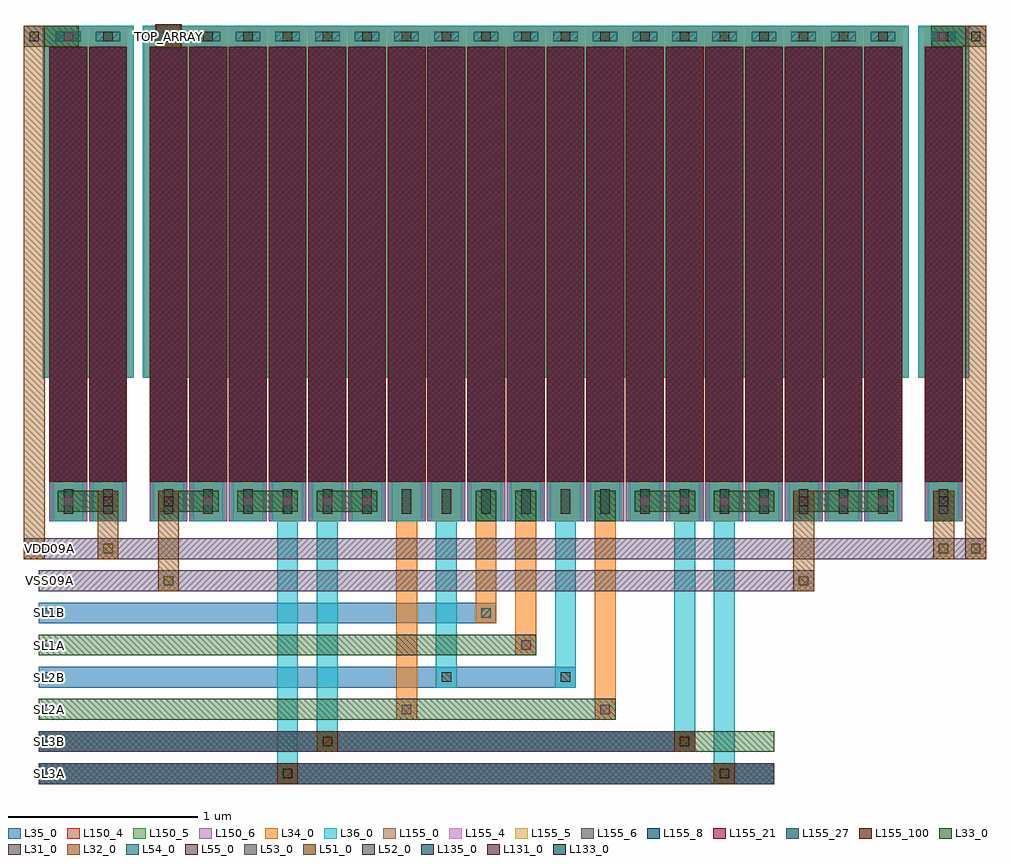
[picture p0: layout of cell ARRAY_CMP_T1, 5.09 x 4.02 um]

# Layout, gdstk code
from math import pi, radians
import gdstk
lib = gdstk.Library(unit=1e-6, precision=1e-09)
def R(c, l, rs):  # rectangles x0, y0, x1, y1
    for r in rs: c.add(gdstk.rectangle(r[:2], r[2:], *l))
def A(c, l, x, y, w, h, nx, ny, dx, dy):  # array of equal rectangles
    R(c, l, [(x+i*dx, y+j*dy, x+i*dx+w, y+j*dy+h) for i in range(nx) for j in range(ny)])
L31_0 = (31, 0)
L32_0 = (32, 0)
L33_0 = (33, 0)
L34_0 = (34, 0)
L35_0 = (35, 0)
L36_0 = (36, 0)
L51_0 = (51, 0)
L52_0 = (52, 0)
L53_0 = (53, 0)
L54_0 = (54, 0)
L55_0 = (55, 0)
L131_0 = (131, 0)
L133_0 = (133, 0)
L135_0 = (135, 0)
L150_4 = (150, 4)
L150_5 = (150, 5)
L150_6 = (150, 6)
L155_0 = (155, 0)
L155_4 = (155, 4)
L155_5 = (155, 5)
L155_6 = (155, 6)
L155_8 = (155, 8)
L155_21 = (155, 21)
L155_27 = (155, 27)
L155_100 = (155, 100)

m5_m4_cdns_621666904968 = lib.new_cell('M5_M4_CDNS_621666904968')
R(m5_m4_cdns_621666904968, L34_0, [(-0.07,-0.105,0.07,0.105)])
R(m5_m4_cdns_621666904968, L35_0, [(-0.07,-0.105,0.07,0.105)])
R(m5_m4_cdns_621666904968, L54_0, [(-0.025,-0.065,0.025,0.065)])

m6_m5_cdns_621666904969 = lib.new_cell('M6_M5_CDNS_621666904969')
R(m6_m5_cdns_621666904969, L35_0, [(-0.07,-0.105,0.07,0.105)])
R(m6_m5_cdns_621666904969, L36_0, [(-0.055,-0.105,0.055,0.105)])
R(m6_m5_cdns_621666904969, L55_0, [(-0.025,-0.065,0.025,0.065)])

m5_m4_cdns_6216669049610 = lib.new_cell('M5_M4_CDNS_6216669049610')
R(m5_m4_cdns_6216669049610, L34_0, [(-0.095,-0.055,0.095,0.055)])
R(m5_m4_cdns_6216669049610, L35_0, [(-0.12,-0.055,0.12,0.055)])
R(m5_m4_cdns_6216669049610, L54_0, [(-0.065,-0.025,0.065,0.025)])

m6_m5_cdns_621666904966 = lib.new_cell('M6_M5_CDNS_621666904966')
R(m6_m5_cdns_621666904966, L35_0, [(-0.055,-0.055,0.055,0.055)])
R(m6_m5_cdns_621666904966, L36_0, [(-0.055,-0.055,0.055,0.055)])
R(m6_m5_cdns_621666904966, L55_0, [(-0.025,-0.025,0.025,0.025)])

cu1f = lib.new_cell('CU1F')
R(cu1f, L34_0, [(0.02,0,0.18,0.21), (-0.035,2.51,0.235,2.62)])
R(cu1f, L35_0, [(0.02,0,0.18,0.21), (-0.035,2.51,0.235,2.62)])
R(cu1f, L36_0, [(0.02,0,0.18,0.21), (-0.035,2.51,0.235,2.62)])
R(cu1f, L150_4, [(0,0,0.2,2.62)])
R(cu1f, L150_5, [(0,0,0.2,2.62)])
R(cu1f, L150_6, [(0,0,0.2,2.62)])
R(cu1f, L155_0, [(0,0.21,0.2,2.51)])
R(cu1f, L155_4, [(0,0.21,0.2,2.51)])
R(cu1f, L155_5, [(0,0.21,0.2,2.51)])
R(cu1f, L155_6, [(0,0.21,0.2,2.51)])
R(cu1f, L155_8, [(0,0.21,0.2,2.51)])
R(cu1f, L155_21, [(0,0.21,0.2,2.51)])
R(cu1f, L155_27, [(0,0.21,0.2,2.51)])
R(cu1f, L155_100, [(0,0.21,0.2,2.51)])
cu1f.add(gdstk.FlexPath([(0.205,2.59),(0.205,0.76)], 0.06, ends=(0.03, 0), simple_path=True, layer=34, datatype=0))  # L34_0
cu1f.add(gdstk.FlexPath([(0.1,2.41),(0.1,0)], 0.05, ends="flush", simple_path=True, layer=34, datatype=0))  # L34_0
cu1f.add(gdstk.FlexPath([(-0.005,2.59),(-0.005,0.76)], 0.06, ends=(0.03, 0), simple_path=True, layer=34, datatype=0))  # L34_0
cu1f.add(gdstk.FlexPath([(0.205,0.76),(0.205,2.59)], 0.06, ends=(0, 0.03), simple_path=True, layer=35, datatype=0))  # L35_0
cu1f.add(gdstk.FlexPath([(0.1,2.41),(0.1,0)], 0.05, ends="flush", simple_path=True, layer=35, datatype=0))  # L35_0
cu1f.add(gdstk.FlexPath([(-0.005,0.76),(-0.005,2.59)], 0.06, ends=(0, 0.03), simple_path=True, layer=35, datatype=0))  # L35_0
cu1f.add(gdstk.FlexPath([(0.205,0.76),(0.205,2.59)], 0.06, ends=(0, 0.03), simple_path=True, layer=36, datatype=0))  # L36_0
cu1f.add(gdstk.FlexPath([(0.1,2.41),(0.1,0)], 0.05, ends="flush", simple_path=True, layer=36, datatype=0))  # L36_0
cu1f.add(gdstk.FlexPath([(-0.005,0.76),(-0.005,2.59)], 0.06, ends=(0, 0.03), simple_path=True, layer=36, datatype=0))  # L36_0
cu1f.add(gdstk.Reference(m5_m4_cdns_621666904968, (0.1,0.105), rotation=pi, x_reflection=True))
cu1f.add(gdstk.Reference(m6_m5_cdns_621666904969, (0.1,0.105), rotation=pi, x_reflection=True))
cu1f.add(gdstk.Reference(m5_m4_cdns_6216669049610, (0.1,2.565)))
cu1f.add(gdstk.Reference(m6_m5_cdns_621666904966, (0.1,2.565)))

m2_m1_cdns_621666904960 = lib.new_cell('M2_M1_CDNS_621666904960')
R(m2_m1_cdns_621666904960, L31_0, [(-0.055,-0.055,0.055,0.055)])
R(m2_m1_cdns_621666904960, L32_0, [(-0.055,-0.055,0.055,0.055)])
R(m2_m1_cdns_621666904960, L51_0, [(-0.025,-0.025,0.025,0.025)])

m3_m2_cdns_621666904961 = lib.new_cell('M3_M2_CDNS_621666904961')
R(m3_m2_cdns_621666904961, L32_0, [(-0.055,-0.055,0.055,0.055)])
R(m3_m2_cdns_621666904961, L33_0, [(-0.055,-0.055,0.055,0.055)])
R(m3_m2_cdns_621666904961, L52_0, [(-0.025,-0.025,0.025,0.025)])

m4_m3_cdns_621666904962 = lib.new_cell('M4_M3_CDNS_621666904962')
R(m4_m3_cdns_621666904962, L33_0, [(-0.055,-0.055,0.055,0.055)])
R(m4_m3_cdns_621666904962, L34_0, [(-0.055,-0.055,0.055,0.055)])
R(m4_m3_cdns_621666904962, L53_0, [(-0.025,-0.025,0.025,0.025)])

m4_m3_cdns_621666904963 = lib.new_cell('M4_M3_CDNS_621666904963')
R(m4_m3_cdns_621666904963, L33_0, [(-0.07,-0.065,0.07,0.065)])
R(m4_m3_cdns_621666904963, L34_0, [(-0.055,-0.055,0.055,0.055)])
R(m4_m3_cdns_621666904963, L53_0, [(-0.025,-0.025,0.025,0.025)])

m3_m2_cdns_621666904964 = lib.new_cell('M3_M2_CDNS_621666904964')
R(m3_m2_cdns_621666904964, L32_0, [(-0.065,-0.06,0.065,0.06)])
R(m3_m2_cdns_621666904964, L33_0, [(-0.07,-0.065,0.07,0.065)])
R(m3_m2_cdns_621666904964, L52_0, [(-0.025,-0.025,0.025,0.025)])

m2_m1_cdns_621666904965 = lib.new_cell('M2_M1_CDNS_621666904965')
R(m2_m1_cdns_621666904965, L31_0, [(-0.055,-0.055,0.055,0.055)])
R(m2_m1_cdns_621666904965, L32_0, [(-0.065,-0.06,0.065,0.06)])
R(m2_m1_cdns_621666904965, L51_0, [(-0.025,-0.025,0.025,0.025)])

m5_m4_cdns_621666904967 = lib.new_cell('M5_M4_CDNS_621666904967')
R(m5_m4_cdns_621666904967, L34_0, [(-0.055,-0.055,0.055,0.055)])
R(m5_m4_cdns_621666904967, L35_0, [(-0.055,-0.055,0.055,0.055)])
R(m5_m4_cdns_621666904967, L54_0, [(-0.025,-0.025,0.025,0.025)])

array_cmp_t1 = lib.new_cell('ARRAY_CMP_T1')
R(array_cmp_t1, L31_0, [(-0.055,-1.39,3.835,-1.28), (-0.055,-1.22,3.415,-1.11), (-0.055,-0.37,4.045,-0.26), (-0.135,-0.2,4.955,-0.09), (0.56,2.5,0.7,2.63)])
R(array_cmp_t1, L32_0, [(0.575,-0.37,0.685,0.16), (3.935,-0.37,4.045,0.16), (-0.135,-0.2,-0.025,2.62), (0.255,-0.2,0.365,0.16), (4.675,-0.2,4.785,0.16), (4.845,-0.2,4.955,2.62)])
A(array_cmp_t1, L33_0, 0.575, 0.05, 0.32, 0.11, 3, 1, 0.42, 0)
R(array_cmp_t1, L33_0, [(-0.055,-1.39,3.835,-1.28), (-0.055,-1.22,3.835,-1.11), (-0.055,-1.05,2.995,-0.94), (-0.055,-0.71,2.575,-0.6), (2.255,0,2.365,0.16), (2.465,0,2.575,0.16), (2.885,0,2.995,0.16), (4.675,0,4.785,0.16), (0.045,0.05,0.365,0.16), (3.095,0.05,3.415,0.16), (3.515,0.05,3.835,0.16), (3.935,0.05,4.465,0.16), (-0.135,2.51,0.155,2.62), (4.665,2.51,4.955,2.62)])
R(array_cmp_t1, L34_0, [(1.835,-1.05,1.945,0.16), (2.885,-1.05,2.995,0.16), (2.465,-0.71,2.575,0.16), (2.255,-0.54,2.365,0.16)])
R(array_cmp_t1, L35_0, [(-0.055,-1.39,3.835,-1.28), (-0.055,-1.22,3.415,-1.11), (-0.055,-0.88,2.785,-0.77), (-0.055,-0.54,2.365,-0.43)])
R(array_cmp_t1, L36_0, [(1.205,-1.39,1.315,0.16), (3.515,-1.39,3.625,0.16), (1.415,-1.22,1.525,0.16), (3.305,-1.22,3.415,0.16), (2.045,-0.88,2.155,0.16), (2.675,-0.88,2.785,0.16)])
R(array_cmp_t1, L131_0, [(-0.025,-0.34,0.025,-0.29), (-0.025,-0.17,0.025,-0.12), (0.605,2.54,0.655,2.59)])
R(array_cmp_t1, L133_0, [(-0.025,-1.02,0.025,-0.97), (-0.025,-0.68,0.025,-0.63)])
A(array_cmp_t1, L135_0, -0.025, -1.19, 0.05, 0.05, 1, 3, 0, 0.34)
R(array_cmp_t1, L135_0, [(-0.025,-1.36,0.025,-1.31)])
array_cmp_t1.add(gdstk.Reference(cu1f, (0,0)))
array_cmp_t1.add(gdstk.Reference(cu1f, (0.21,0)))
array_cmp_t1.add(gdstk.Reference(cu1f, (0.53,0)))
array_cmp_t1.add(gdstk.Reference(cu1f, (0.74,0)))
array_cmp_t1.add(gdstk.Reference(cu1f, (4.63,0)))
array_cmp_t1.add(gdstk.Reference(cu1f, (4.31,0)))
array_cmp_t1.add(gdstk.Reference(cu1f, (4.1,0)))
array_cmp_t1.add(gdstk.Reference(cu1f, (3.89,0)))
array_cmp_t1.add(gdstk.Reference(cu1f, (3.68,0)))
array_cmp_t1.add(gdstk.Reference(cu1f, (3.47,0)))
array_cmp_t1.add(gdstk.Reference(cu1f, (3.26,0)))
array_cmp_t1.add(gdstk.Reference(cu1f, (3.05,0)))
array_cmp_t1.add(gdstk.Reference(cu1f, (2.84,0)))
array_cmp_t1.add(gdstk.Reference(cu1f, (2.63,0)))
array_cmp_t1.add(gdstk.Reference(cu1f, (2.42,0)))
array_cmp_t1.add(gdstk.Reference(cu1f, (2.21,0)))
array_cmp_t1.add(gdstk.Reference(cu1f, (2,0)))
array_cmp_t1.add(gdstk.Reference(cu1f, (1.79,0)))
array_cmp_t1.add(gdstk.Reference(cu1f, (1.58,0)))
array_cmp_t1.add(gdstk.Reference(cu1f, (1.37,0)))
array_cmp_t1.add(gdstk.Reference(cu1f, (1.16,0)))
array_cmp_t1.add(gdstk.Reference(cu1f, (0.95,0)))
array_cmp_t1.add(gdstk.Reference(m2_m1_cdns_621666904960, (4.9,-0.145)))
array_cmp_t1.add(gdstk.Reference(m2_m1_cdns_621666904960, (-0.08,-0.145)))
array_cmp_t1.add(gdstk.Reference(m2_m1_cdns_621666904960, (3.36,-1.165)))
array_cmp_t1.add(gdstk.Reference(m2_m1_cdns_621666904960, (3.57,-1.335)))
array_cmp_t1.add(gdstk.Reference(m2_m1_cdns_621666904960, (1.26,-1.335)))
array_cmp_t1.add(gdstk.Reference(m2_m1_cdns_621666904960, (1.47,-1.165)))
array_cmp_t1.add(gdstk.Reference(m2_m1_cdns_621666904960, (4.73,-0.145)))
array_cmp_t1.add(gdstk.Reference(m2_m1_cdns_621666904960, (0.31,-0.145)))
array_cmp_t1.add(gdstk.Reference(m2_m1_cdns_621666904960, (3.99,-0.315)))
array_cmp_t1.add(gdstk.Reference(m2_m1_cdns_621666904960, (0.63,-0.315)))
array_cmp_t1.add(gdstk.Reference(m3_m2_cdns_621666904961, (4.9,2.565)))
array_cmp_t1.add(gdstk.Reference(m3_m2_cdns_621666904961, (-0.08,2.565)))
array_cmp_t1.add(gdstk.Reference(m3_m2_cdns_621666904961, (1.26,-1.335)))
array_cmp_t1.add(gdstk.Reference(m3_m2_cdns_621666904961, (4.73,0.105)))
array_cmp_t1.add(gdstk.Reference(m3_m2_cdns_621666904961, (3.99,0.105)))
array_cmp_t1.add(gdstk.Reference(m3_m2_cdns_621666904961, (0.63,0.105)))
array_cmp_t1.add(gdstk.Reference(m3_m2_cdns_621666904961, (0.31,0.105)))
array_cmp_t1.add(gdstk.Reference(m3_m2_cdns_621666904961, (3.57,-1.335)))
array_cmp_t1.add(gdstk.Reference(m3_m2_cdns_621666904961, (3.36,-1.165)))
array_cmp_t1.add(gdstk.Reference(m3_m2_cdns_621666904961, (1.47,-1.165)))
array_cmp_t1.add(gdstk.Reference(m4_m3_cdns_621666904962, (4.72,2.565), rotation=pi, x_reflection=True))
array_cmp_t1.add(gdstk.Reference(m4_m3_cdns_621666904962, (0.1,2.565)))
array_cmp_t1.add(gdstk.Reference(m4_m3_cdns_621666904962, (2.94,-0.995)))
array_cmp_t1.add(gdstk.Reference(m4_m3_cdns_621666904962, (1.26,-1.335)))
array_cmp_t1.add(gdstk.Reference(m4_m3_cdns_621666904962, (3.57,0.105)))
array_cmp_t1.add(gdstk.Reference(m4_m3_cdns_621666904962, (1.89,-0.995)))
array_cmp_t1.add(gdstk.Reference(m4_m3_cdns_621666904962, (1.68,0.105)))
array_cmp_t1.add(gdstk.Reference(m4_m3_cdns_621666904962, (3.36,-1.165)))
array_cmp_t1.add(gdstk.Reference(m4_m3_cdns_621666904962, (3.78,0.105)))
array_cmp_t1.add(gdstk.Reference(m4_m3_cdns_621666904962, (3.36,0.105)))
array_cmp_t1.add(gdstk.Reference(m4_m3_cdns_621666904962, (3.15,0.105)))
array_cmp_t1.add(gdstk.Reference(m4_m3_cdns_621666904962, (1.47,-1.165)))
array_cmp_t1.add(gdstk.Reference(m4_m3_cdns_621666904962, (4.73,0.105)))
array_cmp_t1.add(gdstk.Reference(m4_m3_cdns_621666904962, (4.2,0.105)))
array_cmp_t1.add(gdstk.Reference(m4_m3_cdns_621666904962, (4.41,0.105)))
array_cmp_t1.add(gdstk.Reference(m4_m3_cdns_621666904962, (3.99,0.105)))
array_cmp_t1.add(gdstk.Reference(m4_m3_cdns_621666904962, (0.84,0.105)))
array_cmp_t1.add(gdstk.Reference(m4_m3_cdns_621666904962, (0.63,0.105)))
array_cmp_t1.add(gdstk.Reference(m4_m3_cdns_621666904962, (0.1,0.105)))
array_cmp_t1.add(gdstk.Reference(m4_m3_cdns_621666904962, (0.31,0.105)))
array_cmp_t1.add(gdstk.Reference(m4_m3_cdns_621666904962, (2.52,-0.655)))
array_cmp_t1.add(gdstk.Reference(m4_m3_cdns_621666904962, (1.47,0.105)))
array_cmp_t1.add(gdstk.Reference(m4_m3_cdns_621666904962, (1.05,0.105)))
array_cmp_t1.add(gdstk.Reference(m4_m3_cdns_621666904962, (1.26,0.105)))
array_cmp_t1.add(gdstk.Reference(m4_m3_cdns_621666904962, (3.57,-1.335)))
array_cmp_t1.add(gdstk.Reference(m4_m3_cdns_621666904963, (0.63,2.565)))
array_cmp_t1.add(gdstk.Reference(m3_m2_cdns_621666904964, (0.63,2.565)))
array_cmp_t1.add(gdstk.Reference(m2_m1_cdns_621666904965, (0.63,2.565)))
array_cmp_t1.add(gdstk.Reference(m6_m5_cdns_621666904966, (3.57,0.105)))
array_cmp_t1.add(gdstk.Reference(m6_m5_cdns_621666904966, (1.26,0.105)))
array_cmp_t1.add(gdstk.Reference(m6_m5_cdns_621666904966, (3.36,0.105)))
array_cmp_t1.add(gdstk.Reference(m6_m5_cdns_621666904966, (3.57,-1.335)))
array_cmp_t1.add(gdstk.Reference(m6_m5_cdns_621666904966, (1.47,0.105)))
array_cmp_t1.add(gdstk.Reference(m6_m5_cdns_621666904966, (3.36,-1.165)))
array_cmp_t1.add(gdstk.Reference(m6_m5_cdns_621666904966, (1.26,-1.335)))
array_cmp_t1.add(gdstk.Reference(m6_m5_cdns_621666904966, (1.47,-1.165)))
array_cmp_t1.add(gdstk.Reference(m6_m5_cdns_621666904966, (2.1,-0.825)))
array_cmp_t1.add(gdstk.Reference(m6_m5_cdns_621666904966, (2.73,-0.825)))
array_cmp_t1.add(gdstk.Reference(m5_m4_cdns_621666904967, (1.26,-1.335)))
array_cmp_t1.add(gdstk.Reference(m5_m4_cdns_621666904967, (3.57,-1.335)))
array_cmp_t1.add(gdstk.Reference(m5_m4_cdns_621666904967, (1.26,0.105)))
array_cmp_t1.add(gdstk.Reference(m5_m4_cdns_621666904967, (2.31,-0.485)))
array_cmp_t1.add(gdstk.Reference(m5_m4_cdns_621666904967, (1.47,0.105)))
array_cmp_t1.add(gdstk.Reference(m5_m4_cdns_621666904967, (3.57,0.105)))
array_cmp_t1.add(gdstk.Reference(m5_m4_cdns_621666904967, (3.36,0.105)))
array_cmp_t1.add(gdstk.Reference(m5_m4_cdns_621666904967, (3.36,-1.165)))
array_cmp_t1.add(gdstk.Reference(m5_m4_cdns_621666904967, (1.47,-1.165)))
array_cmp_t1.add(gdstk.Label('SL3B', (0,-1.165), layer=135, texttype=0))
array_cmp_t1.add(gdstk.Label('SL1B', (0,-0.485), layer=135, texttype=0))
array_cmp_t1.add(gdstk.Label('SL3A', (0,-1.335), layer=135, texttype=0))
array_cmp_t1.add(gdstk.Label('SL2B', (0,-0.825), layer=135, texttype=0))
array_cmp_t1.add(gdstk.Label('SL1A', (0,-0.655), layer=133, texttype=0))
array_cmp_t1.add(gdstk.Label('SL2A', (0,-0.995), layer=133, texttype=0))
array_cmp_t1.add(gdstk.Label('VDD09A', (0,-0.145), layer=131, texttype=0))
array_cmp_t1.add(gdstk.Label('VSS09A', (0,-0.315), layer=131, texttype=0))
array_cmp_t1.add(gdstk.Label('TOP_ARRAY', (0.628,2.565), layer=131, texttype=0))

lib.write_gds('ARRAY_CMP_T1.gds')
